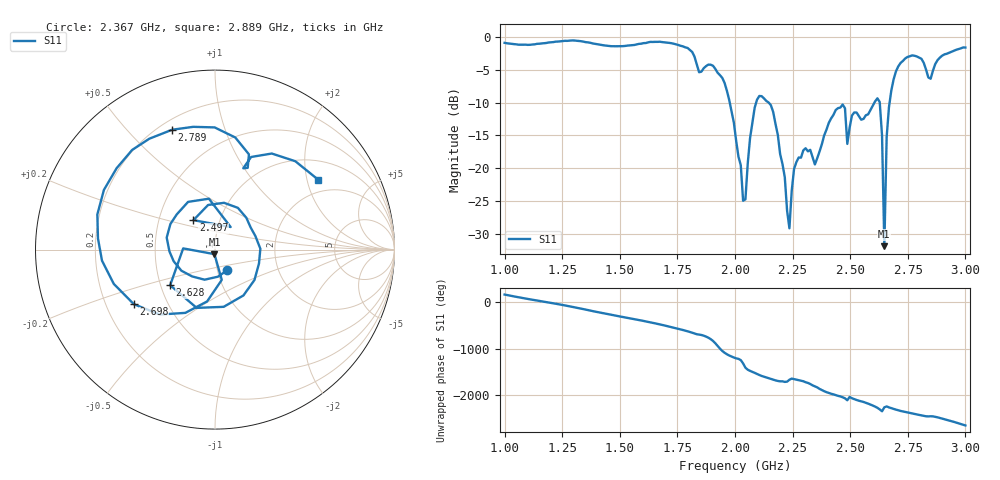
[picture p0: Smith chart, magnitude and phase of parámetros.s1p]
# MHz S MA R 50
!  freq  S11
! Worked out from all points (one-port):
!   200 points, 1 GHz to 3 GHz, reference 50 ohm
!   lowest |S11| = -31.9 dB at 2.648 GHz (marker M1), VSWR 1.05, Z = 49.6 - j2.52 ohm
!   |S11| at or under -10 dB: 1.977 GHz to 2.092 GHz (114.9 MHz wide, 5.65 % of centre); 2.146 GHz to 2.605 GHz (459.4 MHz wide, 19.3 % of centre); 2.628 GHz to 2.671 GHz (42.82 MHz wide, 1.62 % of centre)
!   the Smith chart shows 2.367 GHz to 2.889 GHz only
!   S11 on the Smith chart (normalised r, x): 2.367 GHz: 1.11, -0.26; 2.497 GHz: 0.75, +0.26; 2.628 GHz: 0.56, -0.25; 2.698 GHz: 0.32, -0.28; 2.789 GHz: 0.25, +0.67; 2.889 GHz: 1.56, +2.35
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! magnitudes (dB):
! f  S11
! 1 GHz  -0.9
! 1.251 GHz  -0.6
! 1.503 GHz  -1.4
! 1.754 GHz  -1.2
! 1.945 GHz  -6.2
! 2.005 GHz  -15.8
! 2.045 GHz  -24.7
! 2.085 GHz  -10.8
! 2.156 GHz  -10.4
! 2.216 GHz  -21.4
! 2.236 GHz  -29.1
! 2.256 GHz  -20.1
! 2.367 GHz  -17.5
! 2.447 GHz  -10.9
! 2.477 GHz  -10.9
! 2.487 GHz  -16.3
! 2.497 GHz  -13.8
! 2.508 GHz  -12.0
! 2.628 GHz  -9.9
! 2.638 GHz  -15.0
! 2.648 GHz  -31.9
! 2.658 GHz  -15.2
! 2.698 GHz  -5.3
! 2.759 GHz  -3.0
! 2.789 GHz  -3.0
! 2.849 GHz  -6.4
! 2.889 GHz  -3.2
! 3 GHz  -1.6
